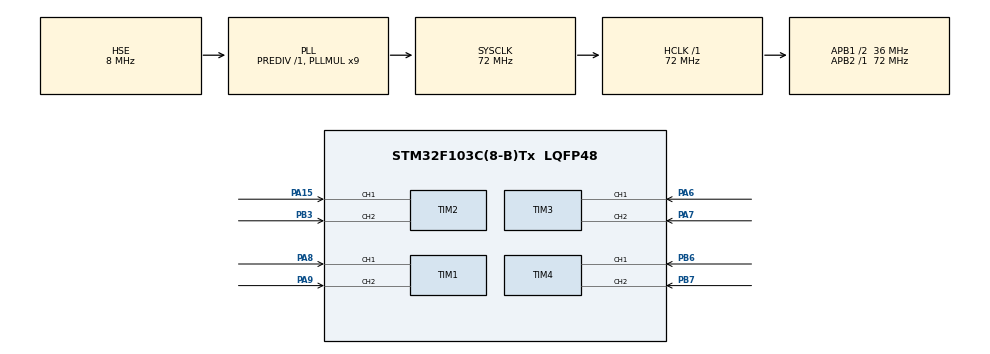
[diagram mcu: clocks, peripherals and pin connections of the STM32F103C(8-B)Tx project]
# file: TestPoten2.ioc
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Mcu.Family=STM32F1
Mcu.Name=STM32F103C(8-B)Tx
Mcu.Package=LQFP48
NVIC.PriorityGroup=NVIC_PRIORITYGROUP_4
PA13.Mode=Serial_Wire
PA13.Signal=SYS_JTMS-SWDIO
PA14.Mode=Serial_Wire
PA14.Signal=SYS_JTCK-SWCLK
PA15.GPIO_PuPd=GPIO_PULLUP
PA15.Signal=S_TIM2_CH1_ETR
PA6.GPIO_PuPd=GPIO_PULLUP
PA6.Signal=S_TIM3_CH1
PA7.GPIO_PuPd=GPIO_PULLUP
PA7.Signal=S_TIM3_CH2
PA8.GPIO_PuPd=GPIO_PULLUP
PA8.Signal=S_TIM1_CH1
PA9.GPIO_PuPd=GPIO_PULLUP
PA9.Signal=S_TIM1_CH2
PB3.GPIO_PuPd=GPIO_PULLUP
PB3.Signal=S_TIM2_CH2
PB6.GPIO_PuPd=GPIO_PULLUP
PB6.Signal=S_TIM4_CH1
PB7.GPIO_PuPd=GPIO_PULLUP
PB7.Signal=S_TIM4_CH2
PD0-OSC_IN.Mode=HSE-External-Oscillator
PD0-OSC_IN.Signal=RCC_OSC_IN
PD1-OSC_OUT.Mode=HSE-External-Oscillator
PD1-OSC_OUT.Signal=RCC_OSC_OUT
ProjectManager.HeapSize=0x200
ProjectManager.StackSize=0x400
ProjectManager.TargetToolchain=STM32CubeIDE
RCC.AHBFreq_Value=72000000
RCC.APB1CLKDivider=RCC_HCLK_DIV2
RCC.APB1Freq_Value=36000000
RCC.APB1TimFreq_Value=72000000
RCC.APB2Freq_Value=72000000
RCC.APB2TimFreq_Value=72000000
RCC.HCLKFreq_Value=72000000
RCC.PLLMUL=RCC_PLL_MUL9
RCC.PLLSourceVirtual=RCC_PLLSOURCE_HSE
RCC.SYSCLKFreq_VALUE=72000000
RCC.SYSCLKSource=RCC_SYSCLKSOURCE_PLLCLK
RCC.USBFreq_Value=72000000
SH.S_TIM1_CH1.0=TIM1_CH1,Encoder_Interface
SH.S_TIM1_CH2.0=TIM1_CH2,Encoder_Interface
SH.S_TIM2_CH1_ETR.0=TIM2_CH1,Encoder_Interface
SH.S_TIM2_CH2.0=TIM2_CH2,Encoder_Interface
SH.S_TIM3_CH1.0=TIM3_CH1,Encoder_Interface
SH.S_TIM3_CH2.0=TIM3_CH2,Encoder_Interface
SH.S_TIM4_CH1.0=TIM4_CH1,Encoder_Interface
SH.S_TIM4_CH2.0=TIM4_CH2,Encoder_Interface
TIM1.EncoderMode=TIM_ENCODERMODE_TI12
TIM2.EncoderMode=TIM_ENCODERMODE_TI12
TIM3.EncoderMode=TIM_ENCODERMODE_TI12
TIM4.EncoderMode=TIM_ENCODERMODE_TI12
board=custom

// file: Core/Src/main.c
/* USER CODE BEGIN Header */
/**
  ******************************************************************************
  * @file           : main.c
  * @brief          : Main program body
  ******************************************************************************
  * @attention
  *
  * Copyright (c) 2025 STMicroelectronics.
  * All rights reserved.
  *
  * This software is licensed under terms that can be found in the LICENSE file
  * in the root directory of this software component.
  * If no LICENSE file comes with this software, it is provided AS-IS.
  *
  ******************************************************************************
  */
/* USER CODE END Header */
#include "main.h"

/* USER CODE BEGIN Includes */
#include <stdbool.h>
/* USER CODE END Includes */

TIM_HandleTypeDef htim1;
TIM_HandleTypeDef htim2;
TIM_HandleTypeDef htim3;
TIM_HandleTypeDef htim4;

/* USER CODE BEGIN PV */
volatile uint8_t EnAPoten2 = 0;
volatile uint8_t EnBPoten2 = 0;
volatile bool enBPotenFlag;
volatile bool enAPotenFlag;
volatile uint32_t lastATime = 0;
volatile uint32_t lastBTime = 0;
#define DEBOUNCE_TIME 15  // 50ms for debounce
volatile short pulsePre1=0;
volatile short pulsePre2=0;
volatile short pulsePre3=0;
volatile short pulsePre4=0;
/* USER CODE END PV */

void SystemClock_Config(void);
static void MX_GPIO_Init(void);
static void MX_TIM3_Init(void);
static void MX_TIM1_Init(void);
static void MX_TIM2_Init(void);
static void MX_TIM4_Init(void);

int main(void)
{

  /* MCU Configuration--------------------------------------------------------*/

  /* Reset of all peripherals, Initializes the Flash interface and the Systick. */
  HAL_Init();

  /* Configure the system clock */
  SystemClock_Config();

  /* Initialize all configured peripherals */
  MX_GPIO_Init();
  MX_TIM3_Init();
  MX_TIM1_Init();
  MX_TIM2_Init();
  MX_TIM4_Init();
  /* USER CODE BEGIN 2 */
  HAL_TIM_Encoder_Start(&htim1, TIM_CHANNEL_1 | TIM_CHANNEL_2);
  HAL_TIM_Encoder_Start(&htim2, TIM_CHANNEL_1 | TIM_CHANNEL_2);
  HAL_TIM_Encoder_Start(&htim3, TIM_CHANNEL_1 | TIM_CHANNEL_2);
  HAL_TIM_Encoder_Start(&htim4, TIM_CHANNEL_1 | TIM_CHANNEL_2);
  /* USER CODE END 2 */

  /* Infinite loop */
  while (1)
  {

    /* USER CODE BEGIN 3 */
	  pulsePre1 = __HAL_TIM_GET_COUNTER(&htim2);
	  pulsePre2 = __HAL_TIM_GET_COUNTER(&htim1);
	  pulsePre3 = __HAL_TIM_GET_COUNTER(&htim3);
	  pulsePre4 = __HAL_TIM_GET_COUNTER(&htim4);
  }
  /* USER CODE END 3 */
}

void SystemClock_Config(void)
{
  RCC_OscInitTypeDef RCC_OscInitStruct = {0};
  RCC_ClkInitTypeDef RCC_ClkInitStruct = {0};

  /** Initializes the RCC Oscillators according to the specified parameters
  * in the RCC_OscInitTypeDef structure.
  */
  RCC_OscInitStruct.OscillatorType = RCC_OSCILLATORTYPE_HSE;
  RCC_OscInitStruct.HSEState = RCC_HSE_ON;
  RCC_OscInitStruct.HSEPredivValue = RCC_HSE_PREDIV_DIV1;
  RCC_OscInitStruct.HSIState = RCC_HSI_ON;
  RCC_OscInitStruct.PLL.PLLState = RCC_PLL_ON;
  RCC_OscInitStruct.PLL.PLLSource = RCC_PLLSOURCE_HSE;
  RCC_OscInitStruct.PLL.PLLMUL = RCC_PLL_MUL9;
  if (HAL_RCC_OscConfig(&RCC_OscInitStruct) != HAL_OK)
  {
    Error_Handler();
  }

  /** Initializes the CPU, AHB and APB buses clocks
  */
  RCC_ClkInitStruct.ClockType = RCC_CLOCKTYPE_HCLK|RCC_CLOCKTYPE_SYSCLK
                              |RCC_CLOCKTYPE_PCLK1|RCC_CLOCKTYPE_PCLK2;
  RCC_ClkInitStruct.SYSCLKSource = RCC_SYSCLKSOURCE_PLLCLK;
  RCC_ClkInitStruct.AHBCLKDivider = RCC_SYSCLK_DIV1;
  RCC_ClkInitStruct.APB1CLKDivider = RCC_HCLK_DIV2;
  RCC_ClkInitStruct.APB2CLKDivider = RCC_HCLK_DIV1;

  if (HAL_RCC_ClockConfig(&RCC_ClkInitStruct, FLASH_LATENCY_2) != HAL_OK)
  {
    Error_Handler();
  }
}

static void MX_TIM1_Init(void)
{

  TIM_Encoder_InitTypeDef sConfig = {0};
  TIM_MasterConfigTypeDef sMasterConfig = {0};

  htim1.Instance = TIM1;
  htim1.Init.Prescaler = 0;
  htim1.Init.CounterMode = TIM_COUNTERMODE_UP;
  htim1.Init.Period = 65535;
  htim1.Init.ClockDivision = TIM_CLOCKDIVISION_DIV1;
  htim1.Init.RepetitionCounter = 0;
  htim1.Init.AutoReloadPreload = TIM_AUTORELOAD_PRELOAD_DISABLE;
  sConfig.EncoderMode = TIM_ENCODERMODE_TI12;
  sConfig.IC1Polarity = TIM_ICPOLARITY_RISING;
  sConfig.IC1Selection = TIM_ICSELECTION_DIRECTTI;
  sConfig.IC1Prescaler = TIM_ICPSC_DIV1;
  sConfig.IC1Filter = 0;
  sConfig.IC2Polarity = TIM_ICPOLARITY_RISING;
  sConfig.IC2Selection = TIM_ICSELECTION_DIRECTTI;
  sConfig.IC2Prescaler = TIM_ICPSC_DIV1;
  sConfig.IC2Filter = 0;
  if (HAL_TIM_Encoder_Init(&htim1, &sConfig) != HAL_OK)
  {
    Error_Handler();
  }
  sMasterConfig.MasterOutputTrigger = TIM_TRGO_RESET;
  sMasterConfig.MasterSlaveMode = TIM_MASTERSLAVEMODE_DISABLE;
  if (HAL_TIMEx_MasterConfigSynchronization(&htim1, &sMasterConfig) != HAL_OK)
  {
    Error_Handler();
  }

}

static void MX_TIM2_Init(void)
{

  TIM_Encoder_InitTypeDef sConfig = {0};
  TIM_MasterConfigTypeDef sMasterConfig = {0};

  htim2.Instance = TIM2;
  htim2.Init.Prescaler = 0;
  htim2.Init.CounterMode = TIM_COUNTERMODE_UP;
  htim2.Init.Period = 65535;
  htim2.Init.ClockDivision = TIM_CLOCKDIVISION_DIV1;
  htim2.Init.AutoReloadPreload = TIM_AUTORELOAD_PRELOAD_DISABLE;
  sConfig.EncoderMode = TIM_ENCODERMODE_TI12;
  sConfig.IC1Polarity = TIM_ICPOLARITY_RISING;
  sConfig.IC1Selection = TIM_ICSELECTION_DIRECTTI;
  sConfig.IC1Prescaler = TIM_ICPSC_DIV1;
  sConfig.IC1Filter = 0;
  sConfig.IC2Polarity = TIM_ICPOLARITY_RISING;
  sConfig.IC2Selection = TIM_ICSELECTION_DIRECTTI;
  sConfig.IC2Prescaler = TIM_ICPSC_DIV1;
  sConfig.IC2Filter = 0;
  if (HAL_TIM_Encoder_Init(&htim2, &sConfig) != HAL_OK)
  {
    Error_Handler();
  }
  sMasterConfig.MasterOutputTrigger = TIM_TRGO_RESET;
  sMasterConfig.MasterSlaveMode = TIM_MASTERSLAVEMODE_DISABLE;
  if (HAL_TIMEx_MasterConfigSynchronization(&htim2, &sMasterConfig) != HAL_OK)
  {
    Error_Handler();
  }

}

static void MX_TIM3_Init(void)
{

  TIM_Encoder_InitTypeDef sConfig = {0};
  TIM_MasterConfigTypeDef sMasterConfig = {0};

  htim3.Instance = TIM3;
  htim3.Init.Prescaler = 0;
  htim3.Init.CounterMode = TIM_COUNTERMODE_UP;
  htim3.Init.Period = 65535;
  htim3.Init.ClockDivision = TIM_CLOCKDIVISION_DIV1;
  htim3.Init.AutoReloadPreload = TIM_AUTORELOAD_PRELOAD_DISABLE;
  sConfig.EncoderMode = TIM_ENCODERMODE_TI12;
  sConfig.IC1Polarity = TIM_ICPOLARITY_RISING;
  sConfig.IC1Selection = TIM_ICSELECTION_DIRECTTI;
  sConfig.IC1Prescaler = TIM_ICPSC_DIV1;
  sConfig.IC1Filter = 0;
  sConfig.IC2Polarity = TIM_ICPOLARITY_RISING;
  sConfig.IC2Selection = TIM_ICSELECTION_DIRECTTI;
  sConfig.IC2Prescaler = TIM_ICPSC_DIV1;
  sConfig.IC2Filter = 0;
  if (HAL_TIM_Encoder_Init(&htim3, &sConfig) != HAL_OK)
  {
    Error_Handler();
  }
  sMasterConfig.MasterOutputTrigger = TIM_TRGO_RESET;
  sMasterConfig.MasterSlaveMode = TIM_MASTERSLAVEMODE_DISABLE;
  if (HAL_TIMEx_MasterConfigSynchronization(&htim3, &sMasterConfig) != HAL_OK)
  {
    Error_Handler();
  }

}

static void MX_TIM4_Init(void)
{

  TIM_Encoder_InitTypeDef sConfig = {0};
  TIM_MasterConfigTypeDef sMasterConfig = {0};

  htim4.Instance = TIM4;
  htim4.Init.Prescaler = 0;
  htim4.Init.CounterMode = TIM_COUNTERMODE_UP;
  htim4.Init.Period = 65535;
  htim4.Init.ClockDivision = TIM_CLOCKDIVISION_DIV1;
  htim4.Init.AutoReloadPreload = TIM_AUTORELOAD_PRELOAD_DISABLE;
  sConfig.EncoderMode = TIM_ENCODERMODE_TI12;
  sConfig.IC1Polarity = TIM_ICPOLARITY_RISING;
  sConfig.IC1Selection = TIM_ICSELECTION_DIRECTTI;
  sConfig.IC1Prescaler = TIM_ICPSC_DIV1;
  sConfig.IC1Filter = 0;
  sConfig.IC2Polarity = TIM_ICPOLARITY_RISING;
  sConfig.IC2Selection = TIM_ICSELECTION_DIRECTTI;
  sConfig.IC2Prescaler = TIM_ICPSC_DIV1;
  sConfig.IC2Filter = 0;
  if (HAL_TIM_Encoder_Init(&htim4, &sConfig) != HAL_OK)
  {
    Error_Handler();
  }
  sMasterConfig.MasterOutputTrigger = TIM_TRGO_RESET;
  sMasterConfig.MasterSlaveMode = TIM_MASTERSLAVEMODE_DISABLE;
  if (HAL_TIMEx_MasterConfigSynchronization(&htim4, &sMasterConfig) != HAL_OK)
  {
    Error_Handler();
  }

}

static void MX_GPIO_Init(void)
{

  /* GPIO Ports Clock Enable */
  __HAL_RCC_GPIOD_CLK_ENABLE();
  __HAL_RCC_GPIOA_CLK_ENABLE();
  __HAL_RCC_GPIOB_CLK_ENABLE();

}

void Error_Handler(void)
{
  __disable_irq();
  while (1)
  {
  }
}
